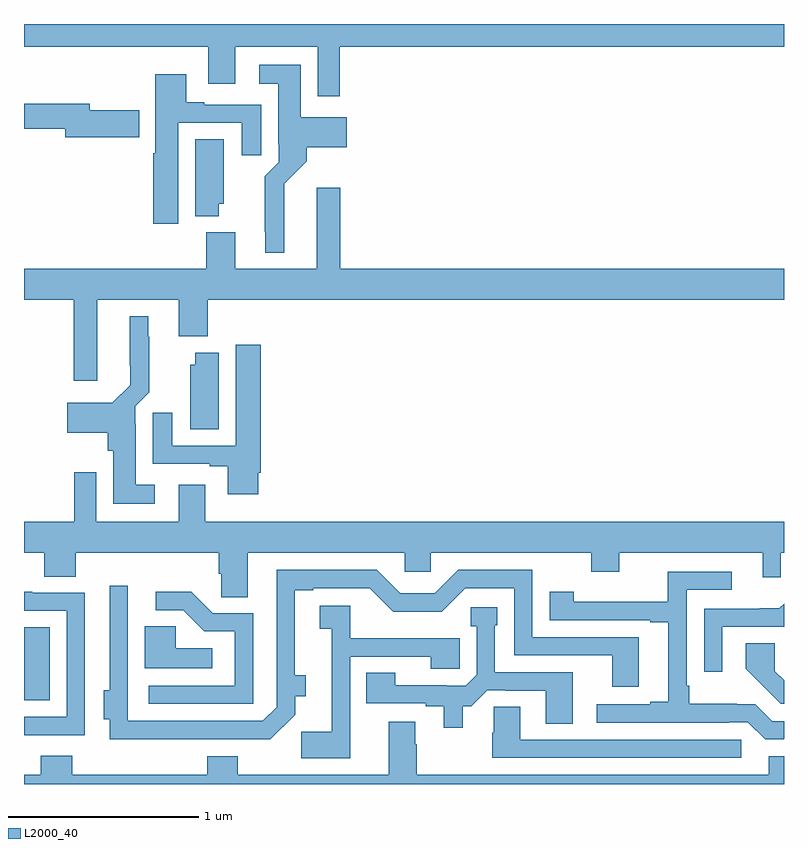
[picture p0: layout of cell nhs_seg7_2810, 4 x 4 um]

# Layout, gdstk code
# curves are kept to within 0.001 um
import gdstk
lib = gdstk.Library(unit=1e-6, precision=1e-09)
def P(c, l, *ps):  # polygons
    for p in ps: c.add(gdstk.Polygon(p, *l))
L2000_40 = (2000, 40)

nhs_seg7_2810 = lib.new_cell('nhs_seg7_2810')
P(nhs_seg7_2810, L2000_40, [(291,1069.88),(291.971,1069.88),(291.971,1069.686),(292.111,1069.686),(292.111,1069.88),(292.545,1069.88),(292.545,1069.62),(292.661,1069.62),(292.661,1069.88),(295,1069.88),(295,1070),(291,1070)],
  [(292.369,1069.16),(292.487,1069.278),(292.487,1069.352),(292.699,1069.352),(292.699,1069.51),(292.456,1069.51),(292.456,1069.786),(292.239,1069.786),(292.239,1069.685),(292.337,1069.685),(292.337,1069.366),(292.341,1069.366),(292.341,1069.272),(292.267,1069.198),(292.267,1068.907),(292.271,1068.907),(292.271,1068.797),(292.369,1068.797)],
  [(291.811,1069.479),(292.145,1069.479),(292.145,1069.308),(292.249,1069.308),(292.249,1069.575),(291.949,1069.575),(291.949,1069.588),(291.853,1069.588),(291.853,1069.735),(291.692,1069.735),(291.692,1069.319),(291.68,1069.319),(291.68,1068.948),(291.811,1068.948)],
  [(291.607,1069.545),(291.346,1069.545),(291.346,1069.579),(291,1069.579),(291,1069.45),(291.218,1069.45),(291.218,1069.403),(291.607,1069.403)],
  [(292.024,1069.053),(292.051,1069.053),(292.051,1069.394),(291.902,1069.394),(291.902,1068.989),(292.024,1068.989)],
  [(291.385,1068.548),(291.815,1068.548),(291.815,1068.356),(291.968,1068.356),(291.968,1068.548),(295,1068.548),(295,1068.712),(292.664,1068.712),(292.664,1069.138),(292.541,1069.138),(292.541,1068.712),(292.111,1068.712),(292.111,1068.904),(291.959,1068.904),(291.959,1068.712),(291,1068.712),(291,1068.548),(291.263,1068.548),(291.263,1068.123),(291.385,1068.123)],
  [(291.688,1067.575),(291.589,1067.575),(291.589,1067.894),(291.585,1067.894),(291.585,1067.988),(291.659,1068.062),(291.659,1068.353),(291.655,1068.353),(291.655,1068.463),(291.557,1068.463),(291.558,1068.1),(291.465,1068.007),(291.228,1068.007),(291.228,1067.849),(291.44,1067.849),(291.44,1067.754),(291.47,1067.754),(291.47,1067.474),(291.688,1067.474)],
  [(292.234,1067.638),(292.247,1067.638),(292.247,1068.313),(292.115,1068.313),(292.115,1067.781),(291.781,1067.781),(291.781,1067.953),(291.677,1067.953),(291.677,1067.685),(291.977,1067.685),(291.977,1067.673),(292.073,1067.673),(292.073,1067.526),(292.234,1067.526)],
  [(292.024,1068.271),(291.902,1068.271),(291.902,1068.207),(291.875,1068.207),(291.875,1067.866),(292.024,1067.866)],
  [(291.955,1067.575),(291.815,1067.575),(291.815,1067.38),(291.381,1067.38),(291.381,1067.641),(291.265,1067.641),(291.265,1067.38),(291,1067.38),(291,1067.216),(291.107,1067.216),(291.107,1067.092),(291.272,1067.092),(291.272,1067.216),(292.025,1067.216),(292.025,1067.107),(292.038,1067.107),(292.038,1066.984),(292.177,1066.984),(292.177,1067.216),(293.004,1067.216),(293.004,1067.118),(293.142,1067.118),(293.142,1067.216),(293.986,1067.216),(293.986,1067.117),(294.133,1067.117),(294.133,1067.216),(294.887,1067.216),(294.887,1067.087),(294.983,1067.087),(294.983,1067.216),(295,1067.216),(295,1067.38),(291.955,1067.38)],
  [(291.881,1066.236),(292.297,1066.235),(292.427,1066.364),(292.427,1066.463),(292.483,1066.463),(292.483,1066.573),(292.426,1066.573),(292.426,1067.019),(292.522,1067.019),(292.522,1067.031),(292.82,1067.031),(292.944,1066.907),(293.198,1066.907),(293.322,1067.031),(293.58,1067.031),(293.58,1066.677),(294.095,1066.677),(294.095,1066.512),(294.235,1066.512),(294.235,1066.773),(293.676,1066.773),(293.676,1067.127),(293.286,1067.127),(293.163,1067.004),(292.98,1067.004),(292.857,1067.127),(292.329,1067.127),(292.329,1066.404),(292.257,1066.332),(291.546,1066.332),(291.546,1067.044),(291.45,1067.044),(291.45,1066.493),(291.419,1066.493),(291.419,1066.34),(291.45,1066.34),(291.45,1066.235)],
  [(294.998,1066.239),(295,1066.239),(295,1066.329),(294.939,1066.329),(294.849,1066.419),(294.752,1066.419),(294.752,1066.423),(294.502,1066.423),(294.502,1066.516),(294.489,1066.516),(294.489,1067.022),(294.724,1067.022),(294.724,1067.118),(294.388,1067.118),(294.388,1066.96),(293.894,1066.96),(293.894,1067.011),(293.766,1067.011),(293.766,1066.863),(294.296,1066.863),(294.296,1066.851),(294.392,1066.851),(294.392,1066.432),(294.296,1066.432),(294.296,1066.419),(294.015,1066.419),(294.015,1066.323),(294.71,1066.323),(294.71,1066.326),(294.81,1066.326),(294.9,1066.236),(294.998,1066.236)],
  [(292.206,1066.899),(291.993,1066.899),(291.88,1067.012),(291.693,1067.012),(291.693,1066.914),(291.837,1066.914),(291.948,1066.803),(292.11,1066.803),(292.11,1066.518),(291.657,1066.518),(291.657,1066.422),(292.206,1066.422)],
  [(291.321,1067.007),(291.043,1067.007),(291.043,1067.011),(291,1067.011),(291,1066.911),(291.225,1066.911),(291.225,1066.353),(291,1066.353),(291,1066.257),(291.321,1066.257)],
  [(294.675,1066.827),(295,1066.827),(295,1066.948),(294.976,1066.924),(294.872,1066.924),(294.872,1066.923),(294.579,1066.923),(294.579,1066.59),(294.675,1066.59)],
  [(292.716,1066.671),(293.14,1066.671),(293.14,1066.606),(293.293,1066.606),(293.293,1066.767),(293.183,1066.767),(293.183,1066.768),(292.716,1066.768),(292.716,1066.939),(292.557,1066.939),(292.557,1066.818),(292.619,1066.818),(292.619,1066.275),(292.458,1066.275),(292.458,1066.136),(292.716,1066.136)],
  [(293.308,1066.41),(293.355,1066.41),(293.439,1066.494),(293.533,1066.494),(293.533,1066.491),(293.747,1066.491),(293.747,1066.318),(293.887,1066.318),(293.887,1066.587),(293.478,1066.587),(293.478,1066.836),(293.491,1066.836),(293.491,1066.929),(293.352,1066.929),(293.352,1066.831),(293.382,1066.831),(293.382,1066.575),(293.325,1066.518),(293.225,1066.518),(293.225,1066.521),(292.953,1066.521),(292.953,1066.586),(292.801,1066.586),(292.801,1066.425),(293.114,1066.425),(293.114,1066.41),(293.21,1066.41),(293.21,1066.296),(293.308,1066.296)],
  [(291.991,1066.714),(291.799,1066.714),(291.799,1066.829),(291.635,1066.829),(291.635,1066.61),(291.991,1066.61)],
  [(291.136,1066.826),(291.002,1066.826),(291.002,1066.732),(291,1066.732),(291,1066.442),(291.136,1066.442)],
  [(295,1066.546),(294.952,1066.594),(294.952,1066.742),(294.798,1066.742),(294.798,1066.606),(294.885,1066.519),(294.886,1066.519),(294.983,1066.422),(295,1066.422)],
  [(294.775,1066.233),(293.611,1066.233),(293.611,1066.406),(293.473,1066.406),(293.473,1066.269),(293.464,1066.269),(293.464,1066.137),(294.775,1066.137)],
  [(295,1066.146),(294.92,1066.146),(294.92,1066.048),(293.067,1066.048),(293.067,1066.208),(293.059,1066.208),(293.059,1066.327),(292.919,1066.327),(292.919,1066.048),(292.125,1066.048),(292.125,1066.147),(291.965,1066.147),(291.965,1066.048),(291.254,1066.048),(291.254,1066.15),(291.089,1066.15),(291.089,1066.048),(291,1066.048),(291,1066),(295,1066)])

lib.write_gds('nhs_seg7_2810.gds')
